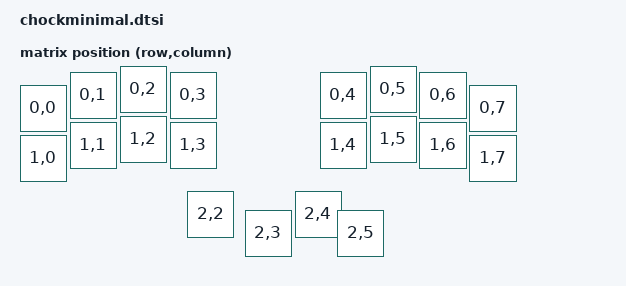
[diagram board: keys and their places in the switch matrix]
#include <dt-bindings/zmk/matrix_transform.h>
#include <dt-bindings/zmk/input_transform.h>
#include <input/processors.dtsi>
#include <physical_layouts.dtsi>
#include "chockminimal_layers.h"

/ {
  chosen {
    zmk,kscan = &kscan0;
    /* ZMK Studio uses physical_layouts */
    zmk,physical-layout = &chockminimal_layout;
  };

  vbatt: vbatt {
    compatible = "zmk,battery-nrf-vddh";
  };

  /* Matrix Transform */
  default_transform: keymap_transform_0 {
    compatible = "zmk,matrix-transform";
    columns = <8>;
    rows = <3>;

    map = <
      RC(0,0) RC(0,1) RC(0,2) RC(0,3)    RC(0,4) RC(0,5) RC(0,6) RC(0,7)
      RC(1,0) RC(1,1) RC(1,2) RC(1,3)    RC(1,4) RC(1,5) RC(1,6) RC(1,7)
                      RC(2,2) RC(2,3)    RC(2,4) RC(2,5)
    >;
  };
  /* KSCAN */
  kscan0: kscan {
    compatible = "zmk,kscan-gpio-matrix";
    label = "KSCAN";
    diode-direction = "row2col";
  };

  /* ZMK Studio physical layout */

  chockminimal_layout: twentypercent_layout {
    compatible = "zmk,physical-layout";
    display-name = "ChockMinimal";
    transform = <&default_transform>;

    keys
      //                      w   h   x   y   rot rx  ry 
      = <&key_physical_attrs 100 100    0   38   0  0   0>
      , <&key_physical_attrs 100 100  100   12   0  0   0>
      , <&key_physical_attrs 100 100  200    0   0  0   0>
      , <&key_physical_attrs 100 100  300   12   0  0   0>

      , <&key_physical_attrs 100 100  600   12   0  0   0>
      , <&key_physical_attrs 100 100  700    0   0  0   0>
      , <&key_physical_attrs 100 100  800   12   0  0   0>
      , <&key_physical_attrs 100 100  900   38   0  0   0>


      , <&key_physical_attrs 100 100    0   138   0  0   0>
      , <&key_physical_attrs 100 100  100   112   0  0   0>
      , <&key_physical_attrs 100 100  200   100   0  0   0>
      , <&key_physical_attrs 100 100  300   112   0  0   0>

      , <&key_physical_attrs 100 100  600   112   0  0   0>
      , <&key_physical_attrs 100 100  700   100   0  0   0>
      , <&key_physical_attrs 100 100  800   112   0  0   0>
      , <&key_physical_attrs 100 100  900   138   0  0   0>

      // Thumb clusters
      , <&key_physical_attrs 100 100  335   250   0  0   0>
      , <&key_physical_attrs 100 100  450   288   0  0   0>

      , <&key_physical_attrs 100 100  550   250   0  0   0>
      , <&key_physical_attrs 100 100  635   288   0  0   0>
      ;
  };

  chockminimal_position_map {
    compatible = "zmk,physical-layout-position-map";
    complete;

    eight {
      physical-layout = <&chockminimal_layout>;
      positions
        = < 0  1  2  3  4  5  6  7 >
        , < 8  9 10 11 12 13 14 15 >
        , <      16 17 18 19       >
        ;
    };
  };
};
